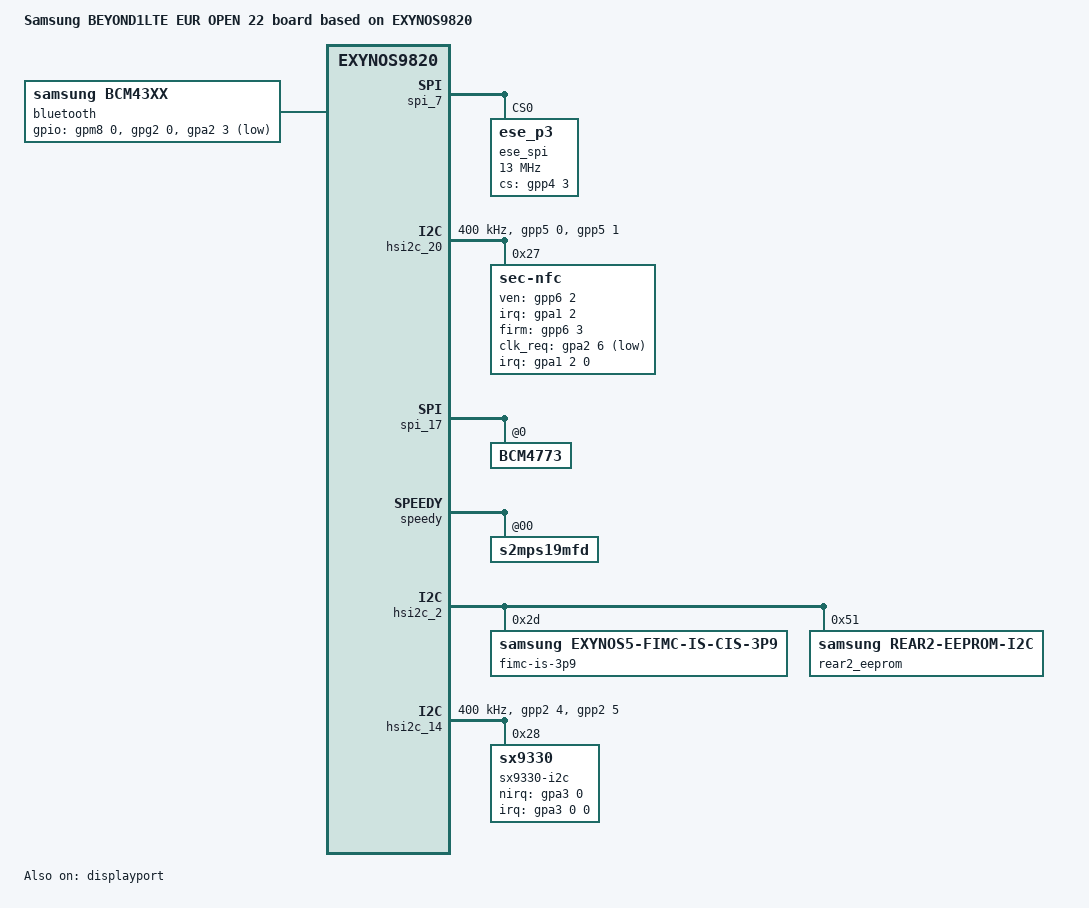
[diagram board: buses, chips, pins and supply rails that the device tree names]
/*
 * SAMSUNG EXYNOS9820 board device tree source
 *
 * Copyright (c) 2018 Samsung Electronics Co., Ltd.
 *		http://www.samsung.com
 *
 * This program is free software; you can redistribute it and/or modify
 * it under the terms of the GNU General Public License version 2 as
 * published by the Free Software Foundation.
*/

/dts-v1/;
/plugin/;
#include "exynos9820-sensorhub.dtsi"
#include "exynos9820-display-lcd.dtsi"
#include "battery_data_beyondlte_19.dtsi"
#include "exynos9820-evt1-beyond1lte_motor.dtsi"
#include "exynos9820-evt1-beyond1lte_if-pmic-max77705.dtsi"
#include <dt-bindings/clock/exynos9820.h>
#include <dt-bindings/pci/pci.h>
#include "exynos9820-bootargs_ext.dtsi"
#include "exynos9820-beyond1lte_camera.dtsi"
#include "exynos9820-beyond1lte_common.dtsi"
#include "exynos9820-beyond1lte_fingerprint_00.dtsi"
#include "exynos9820-beyond1lte_eur_open_gpio_04.dtsi"
#include "exynos9820-beyond1lte_optics-r00.dtsi"

/ {
	compatible = "samsung,BEYOND1LTE EUR OPEN 22", "samsung,EXYNOS9820";
	dtbo-hw_rev = <22>;
   	dtbo-hw_rev_end = <22>;

	fragment@model {
		target-path = "/";
		__overlay__ {
			#address-cells = <2>;
			#size-cells = <1>;

			model = "Samsung BEYOND1LTE EUR OPEN 22 board based on EXYNOS9820";
			pinctrl@15850000 {
				bt_hostwake: bt-hostwake {
					samsung,pins = "gpa2-3";
					samsung,pin-function = <0>;
					samsung,pin-pud = <1>;
				};
			};
			pinctrl@10430000 {
				bt_btwake: bt-btwake {
					samsung,pins = "gpg2-0";
					samsung,pin-function = <1>;
					samsung,pin-pud = <0>;
					samsung,pin-con-pdn = <3>;
					samsung,pin-pud-pdn = <0>;
				};
			};
			pinctrl@15C30000 {
				bt_en: bt-en {
					samsung,pins = "gpm8-0";
					samsung,pin-function = <1>;
					samsung,pin-pud = <0>;
					samsung,pin-con-pdn = <3>;
					samsung,pin-pud-pdn = <0>;
				};
			};
			bluetooth {
				compatible = "samsung,bcm43xx";
				gpios = <&gpm8 0 0   /*BT_EN*/
				&gpg2 0 0    /*BT_WAKE*/
				&gpa2 3 0xF    /*BT_HOST_WAKE*/ >;
				pinctrl-names = "default";
				pinctrl-0=<&bt_hostwake &bt_btwake &bt_en>;
				status = "okay";
			};
		}; /* end of __overlay__ */
	}; /* end of fragment */

	fragment@camera {
		target-path = "/";
		__overlay__ {
			/* Ultra Wide CAMERA */
			fimc_is_sensor_3p9: fimc-is_sensor_3p9@2D {
				power_seq_id = <1>;
			};
		}; /* end of __overlay__ */
	}; /* end of fragment */
}; /* end of root */

&pinctrl_6 {
	spi7_bus_suspend: spi7-bus-suspend {
		samsung,pins = "gpp4-2", "gpp4-1", "gpp4-0";
		samsung,pin-function = <0>;	/* INPUT */
		samsung,pin-pud = <1>;		/* DOWN */
		samsung,pin-drv = <0>;
	};
	spi7_cs_suspend: spi7-cs-suspend {
		samsung,pins = "gpp4-3";
		samsung,pin-function = <0>;	/* INPUT */
		samsung,pin-pud = <1>;		/* DOWN */
		samsung,pin-drv = <0>;
	};
};

/* SPI USI_PERIC1_USI06_SPI */
&spi_7 {
	status = "okay";
	/delete-property/ pinctrl-names;
	/delete-property/ pinctrl-0;
	pinctrl-names = "ese_active", "ese_suspend";
	pinctrl-0 = <&spi7_bus &spi7_cs>;
	pinctrl-1 = <&spi7_bus_suspend &spi7_cs_suspend>;

	ese_spi@0 {
		compatible = "ese_p3";
		reg = <0>;
		spi-max-frequency = <13000000>;
		gpio-controller;
		#gpio-cells = <2>;

		p3-vdd-1p8= "VDD_ESE_1P8";

		clocks = <&clock GATE_USI06_USI>, <&clock DOUT_CLK_PERIC1_USI06_USI>;
		clock-names = "pclk", "sclk";
		ese_p3,cs-gpio = <&gpp4 3 0>;

		controller-data {
			samsung,spi-feedback-delay = <0>;
			samsung,spi-chip-select-mode = <0>;
		};
	};
};

&pinctrl_6 {
	nfc_en: nfc-en {
		samsung,pins = "gpp6-2";
		samsung,pin-function = <1>;
		samsung,pin-pud = <0>;
		samsung,pin-con-pdn = <3>;
		samsung,pin-pud-pdn = <0>;
		};

	nfc_firm: nfc-firm {
		samsung,pins = "gpp6-3";
		samsung,pin-function = <1>;
		samsung,pin-pud = <0>;
		samsung,pin-con-pdn = <3>;
		samsung,pin-pud-pdn = <0>;
		};
};

&hsi2c_20 {
	gpios = <&gpp5 0 0 &gpp5 1 0>;
	status = "okay";
	clock-frequency = <400000>;

	sec-nfc@27 {
		compatible = "sec-nfc";
		reg = <0x27>;

		interrupts = <2 0 0>;
		interrupt-parent = <&gpa1>;
		pinctrl-names = "default";
		pinctrl-0 = <&nfc_en &nfc_firm>;

		sec-nfc,ven-gpio = <&gpp6 2 0>;
		sec-nfc,irq-gpio = <&gpa1 2 0>;
		sec-nfc,firm-gpio = <&gpp6 3 0>;
		sec-nfc,clk_req-gpio = <&gpa2 6 0xf>;
		sec-nfc,clk_use = <2>;
		sec-nfc,nfc_pvdd = "VDD_NFC_1P8";

		clocks = <&clock OSC_NFC>;
		clock-names = "oscclk_nfc";
		sec-nfc,nfc_ap_clk;
		sec-nfc,ldo_control;
	};
};

&spi_17 {
	BCM4773@0 {
		ssp-acc-position = <4>;
		ssp-mag-position = <7>;
		ssp-mag-array = /bits/ 8 <105 83 186 37 145 10 0 219 211 55 95 238 225 25 0 168 255 108 134 7 
					191 253 92 99 10 153 28>;
		ssp-thermi-up = /bits/ 16 <3232 3206 3169 3123 3062 2993 2905 2792 2681 2549 2397 2235 2063
					1891 1716 1546 1385 1234 1089 955 838 730 637>;
		ssp-thermi-sub = /bits/ 16 <3240 3216 3177 3129 3076 2998 2912 2806 2689 2553 2406 2248 2073
					1902 1731 1560 1399 1247 1098 970 847 745 652>;
	};
};

&pinctrl_2 {
		shub_ap_int_copr: shub-ap-int-copr {
			samsung,pins = "gpm9-0";
			samsung,pin-function = <0>;
			samsung,pin-pud = <0>;
			samsung,pin-drv = <0>;
		};
};

&pinctrl_5 {
	aux_oe: aux-oe {
		samsung,pins = "gpg1-6";
		samsung,pin-function = <1>; 
		samsung,pin-pud = <0>;
		samsung,pin-con-pdn = <3>;
		samsung,pin-pud-pdn = <0>;
		};

	sbu_sel: sbu-sel {
		samsung,pins = "gpg4-0";
		samsung,pin-function = <1>; 
		samsung,pin-pud = <0>;
		samsung,pin-con-pdn = <3>;
		samsung,pin-pud-pdn = <0>;
		};
};

&displayport {
	status = "okay";
	dp,aux_sw_oe = <&gpg1 6 0>;
	dp,sbu_sw_sel = <&gpg4 0 0>;
	dp,usb_con_sel = <&gpg0 4 0>;

	pinctrl-names = "default";
	pinctrl-0 = <&aux_oe &sbu_sel>;
};

&speedy {
	s2mps19mfd@00 {
		smpl_warn_en = <1>; /* 1 : enable , 0 : disable */
		smpl_warn_dev2= <1>; 
	};
};

/* PERIC1 CAM1 */
&hsi2c_1 {
	status = "disabled";
};

/* PERIC1 CAM2 */
&hsi2c_2 {
	#address-cells = <1>;
	#size-cells = <0>;

	fimc-is-3p9@2D {
		compatible = "samsung,exynos5-fimc-is-cis-3p9";
		reg = <0x2D>; /* 1 bit right shift */
		id = <4>; /* matching fimc_is_sensor id */
		setfile = "setA";
		status = "okay";
	};

	rear2_eeprom@51 { /* Ultra wide eeprom */
		compatible = "samsung,rear2-eeprom-i2c";
		reg = <0x51>;

		rom_power_position = <4>;
		rom_size = <0x4000>;
		cal_map_es_version = <10>;
		camera_module_es_version = "A";
		/*skip_cal_loading;*/

		/* Beyond_Rear_Cal_Map_V010_20180709_for_ALL */
		/* 0 header */
		header_crc_check_list = <0x0000 0x00FB 0x00FC>;
		/* 0 master LSC */
		/* 1 master all */
		crc_check_list = <0x0100 0x1AFB 0x1AFC
							0x2200 0x22DF 0x22FC>;

		/* Master */
		rom_header_version_start_addr = <0x40>;
		rom_header_cal_data_start_addr = <0x100>;

		rom_header_cal_map_ver_start_addr = <0x50>;
		rom_header_isp_setfile_ver_start_addr = <0x54>;
		rom_header_project_name_start_addr = <0x5E>;

		rom_header_module_id_addr = <0xAE>; /* 0xA8 + reserved bytes */
		rom_header_sensor_id_addr = <0xB8>;

		rom_header_mtf_data_addr = <0x66>;

		rom_awb_master_addr = <0x2200>;
		rom_awb_module_addr = <0x2224>;
	};
};

&hsi2c_14 {
    gpios = <&gpp2 4 0 &gpp2 5 0>;
    clock-frequency = <400000>;
 
    status = "okay";
    #address-cells = <1>;
    #size-cells = <0>;
 
    sx9330-i2c@28 {
        compatible = "sx9330";
        reg = <0x28>;
        status = "okay";

        pinctrl-names = "default";
        pinctrl-0 = <&grip_irq>;

        interrupt-parent = <&gpa3>;
        interrupts = <0 0 0>;
 
        sx9330,nirq-gpio = <&gpa3 0 0>;
 
        sx9330,scanperiod_reg = <0x00000032>; /* scanperiod : 102ms */
        sx9330,gnrlctrl2_reg = <0x00FF0002>;
        sx9330,afeparamsph0_reg = <0x0000021F>;
        sx9330,afephph0_reg = <0x3FBB8548>;
        sx9330,adcfiltph0_reg = <0x0510101D>;
        sx9330,afeparamsph1_reg = <0x00001E2F>;  /* again : 9.9pF, sampling freq : 111.11 khz */
        sx9330,adcfiltph1_reg = <0x00104615>;    /* threshold : 2450 */
        sx9330,avgbfilt_reg = <0x60600C00>;   /* AVGPOSFILT : 1/256, AVGNEGFILT : 1/2 */
        sx9330,avgafilt_reg = <0x00000000>;
        sx9330,advdig3_reg = <0x00000000>;
        sx9330,advdig4_reg = <0x00000000>;
        sx9330,refcorra_reg = <0x00000000>;

    };
};

